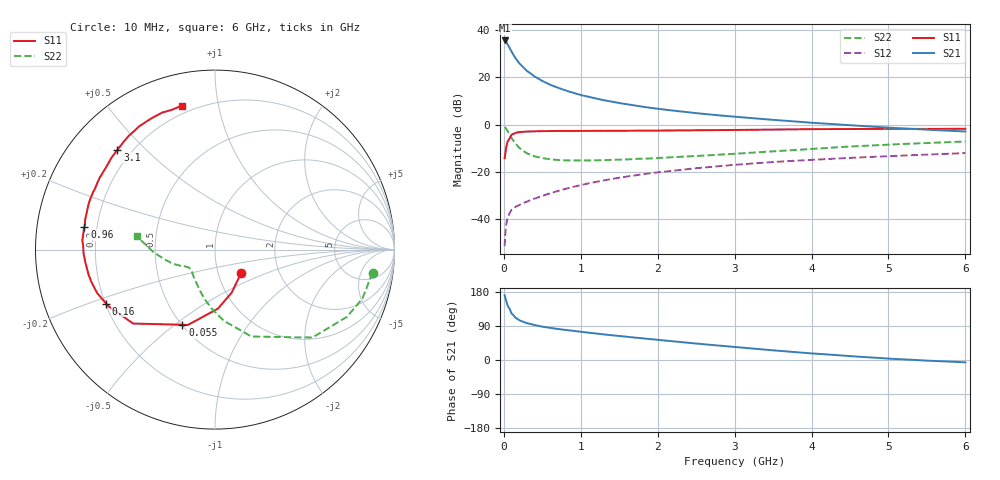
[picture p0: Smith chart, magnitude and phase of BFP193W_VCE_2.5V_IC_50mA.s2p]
! Infineon Technologies  Discrete & RF Semiconductors
! BFP193W
! VCE = 2.5 V,  IC =  50 mA
! Common Emitter S-Parameters:  Jan 2016
# GHz  S  MA  R  50
!  f  S11  S21  S12  S22
! GHz  MAG  ANG  MAG  ANG  MAG  ANG  MAG  ANG
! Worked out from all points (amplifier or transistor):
!   210 points, 10 MHz to 6 GHz, reference 50 ohm
!   highest |S21| = 35.7 dB at 10 MHz (marker M1)
!   |S21| within 3 dB of that: start of sweep to 71.31 MHz
!   unconditionally stable (mu >= 1): 550.6 MHz to 3.951 GHz
!   at 185 MHz: K = 0.57, MSG = 30.5 dB, |S12| = -34.2 dB
!   at 1.52 GHz: K = 1.14, MAG = 13.4 dB, |S12| = -22.3 dB
!   at 6 GHz: K = 0.95, MSG = 4.6 dB, |S12| = -12.0 dB
!   S11 on the Smith chart (normalised r, x): 10 MHz: 1.29, -0.34; 55 MHz: 0.50, -0.53; 160 MHz: 0.20, -0.23; 960 MHz: 0.15, +0.08; 3.1 GHz: 0.15, +0.41; 6 GHz: 0.16, +0.78
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0.01  0.1949 -41.0  60.66 170.9  0.0027 82.9  0.8871 -8.3
0.02  0.2567 -68.7  59.27 163.5  0.0052 73.6  0.8654 -18.4
0.03  0.3289 -87.0  56.66 156.0  0.0076 72.0  0.8253 -27.0
0.05  0.4456 -109.7  49.88 143.1  0.0111 61.3  0.7309 -42.1
0.055  0.4561 -113.4  48.19 141.7  0.0115 59.6  0.7056 -43.9
0.1  0.6145 -137.9  35.04 122.9  0.0159 48.7  0.5248 -67.3
0.15  0.6721 -152.0  25.73 111.6  0.0183 45.0  0.3989 -83.0
0.16  0.6766 -153.6  24.56 110.5  0.0186 45.2  0.3832 -84.8
0.2  0.6996 -159.7  20.02 105.0  0.02 45.7  0.3255 -93.9
0.26  0.7125 -165.8  15.86 99.9  0.0223 47.1  0.2741 -103.2
0.3  0.7178 -168.6  13.76 97.1  0.0238 48.5  0.2486 -108.9
0.4  0.7255 -174.2  10.45 91.9  0.0273 52.3  0.2147 -118.6
0.5  0.7327 -178.3  8.424 87.9  0.0312 55.3  0.197 -125.9
0.6  0.7338 178.7  7.035 84.7  0.0353 57.7  0.1863 -131.5
0.96  0.7381 170.1  4.446 75.4  0.051 61.9  0.1757 -141.9
1.02  0.7383 168.9  4.184 74.0  0.0536 62.3  0.1755 -143.1
1.4  0.7464 161.8  3.076 65.4  0.0711 62.9  0.1815 -147.7
2.02  0.7527 151.1  2.158 52.7  0.0993 60.6  0.1988 -151.9
3.1  0.7778 134.3  1.429 32.7  0.1461 53.1  0.2491 -162.4
4.1  0.8069 120.5  1.076 16.1  0.185 45.3  0.3153 -173.9
5.1  0.8173 110.3  0.851 2.7  0.2198 38.2  0.386 176.1
6  0.8231 103.1  0.72 -6.2  0.2516 32.5  0.4413 170.1
